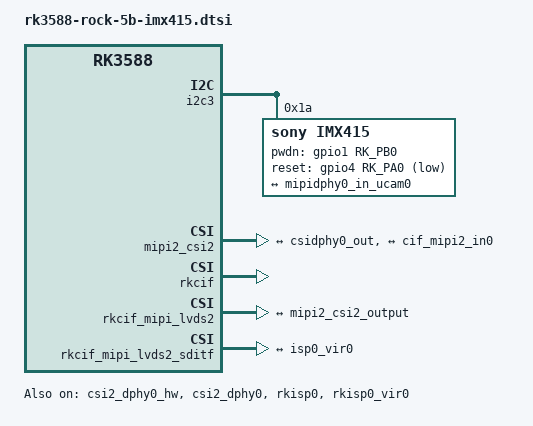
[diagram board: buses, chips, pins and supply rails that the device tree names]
// SPDX-License-Identifier: (GPL-2.0+ OR MIT)
/*
 * Copyright (c) 2022 Rockchip Electronics Co., Ltd.
 *
 */

/ {
	compatible = "radxa,rock-5b", "rockchip,rk3588";
};

&i2c3 {
	status = "okay";

	imx415: imx415@1a {
		status = "okay";
		compatible = "sony,imx415";
		reg = <0x1a>;
		clocks = <&cru CLK_MIPI_CAMARAOUT_M3>;
		clock-names = "xvclk";
		pinctrl-names = "default";
		pinctrl-0 = <&mipim0_camera3_clk>;
		power-domains = <&power RK3588_PD_VI>;
		pwdn-gpios = <&gpio1 RK_PB0 GPIO_ACTIVE_HIGH>;
		reset-gpios = <&gpio4 RK_PA0 GPIO_ACTIVE_LOW>;
		rockchip,camera-module-index = <0>;
		rockchip,camera-module-facing = "back";
		rockchip,camera-module-name = "RADXA-CAMERA-4K";
		rockchip,camera-module-lens-name = "DEFAULT";
		port {
			imx415_out0: endpoint {
				remote-endpoint = <&mipidphy0_in_ucam0>;
				data-lanes = <1 2 3 4>;
			};
		};
	};
};

&csi2_dphy0_hw {
	status = "okay";
};

&csi2_dphy0 {
	status = "okay";

	ports {
		#address-cells = <1>;
		#size-cells = <0>;

		port@0 {
			reg = <0>;
			#address-cells = <1>;
			#size-cells = <0>;

			mipidphy0_in_ucam0: endpoint@1 {
				reg = <1>;
				remote-endpoint = <&imx415_out0>;
				data-lanes = <1 2 3 4>;
			};
		};

		port@1 {
			reg = <1>;
			#address-cells = <1>;
			#size-cells = <0>;

			csidphy0_out: endpoint@0 {
				reg = <0>;
				remote-endpoint = <&mipi2_csi2_input>;
			};
		};
	};
};

&mipi2_csi2 {
	status = "okay";

	ports {
		#address-cells = <1>;
		#size-cells = <0>;

		port@0 {
			reg = <0>;
			#address-cells = <1>;
			#size-cells = <0>;

			mipi2_csi2_input: endpoint@1 {
				reg = <1>;
				remote-endpoint = <&csidphy0_out>;
			};
		};

		port@1 {
			reg = <1>;
			#address-cells = <1>;
			#size-cells = <0>;

			mipi2_csi2_output: endpoint@0 {
				reg = <0>;
				remote-endpoint = <&cif_mipi2_in0>;
			};
		};
	};
};

&rkcif {
	/* pin 3 and 5 on the pin header */
	isp0-frame-start-notify-gpios = <&gpio4 RK_PB3 GPIO_ACTIVE_HIGH>; /* pin 3 on pin header */
	isp0-frame-end-notify-gpios = <&gpio4 RK_PB2 GPIO_ACTIVE_HIGH>; /* pin 5 on pin header */
	status = "okay";
};

&rkcif_mipi_lvds2 {
	status = "okay";

	port {
		cif_mipi2_in0: endpoint {
			remote-endpoint = <&mipi2_csi2_output>;
		};
	};
};

&rkcif_mipi_lvds2_sditf {
	status = "okay";

	port {
		mipi_lvds2_sditf: endpoint {
			remote-endpoint = <&isp0_vir0>;
		};
	};
};

&rkcif_mmu {
	status = "okay";
};

&rkisp0 {
	status = "okay";
};

&isp0_mmu {
	status = "okay";
};

&rkisp0_vir0 {
	status = "okay";

	port {
		#address-cells = <1>;
		#size-cells = <0>;

		isp0_vir0: endpoint@0 {
			reg = <0>;
			remote-endpoint = <&mipi_lvds2_sditf>;
		};
	};
};
